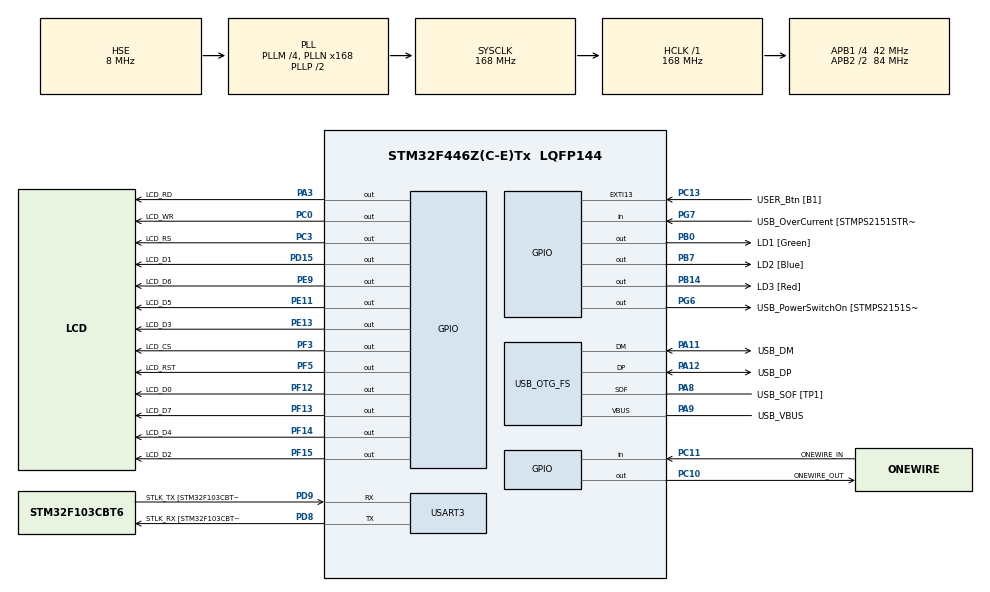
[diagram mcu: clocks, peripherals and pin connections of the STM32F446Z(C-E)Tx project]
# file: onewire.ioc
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Mcu.Family=STM32F4
Mcu.Name=STM32F446Z(C-E)Tx
Mcu.Package=LQFP144
NVIC.PriorityGroup=NVIC_PRIORITYGROUP_4
PA10.GPIO_Label=USB_ID
PA10.Signal=USB_OTG_FS_ID
PA11.GPIO_Label=USB_DM
PA11.Mode=Device_Only
PA11.Signal=USB_OTG_FS_DM
PA12.GPIO_Label=USB_DP
PA12.Mode=Device_Only
PA12.Signal=USB_OTG_FS_DP
PA13.GPIO_Label=TMS
PA13.Mode=Serial_Wire
PA13.Signal=SYS_JTMS-SWDIO
PA14.GPIO_Label=TCK
PA14.Mode=Serial_Wire
PA14.Signal=SYS_JTCK-SWCLK
PA3.GPIO_Label=LCD_RD
PA3.GPIO_Speed=GPIO_SPEED_FREQ_VERY_HIGH
PA3.Signal=GPIO_Output
PA8.GPIO_Label=USB_SOF [TP1]
PA8.Mode=Activate_SOF_FS
PA8.Signal=USB_OTG_FS_SOF
PA9.GPIO_Label=USB_VBUS
PA9.Mode=Activate_VBUS
PA9.Signal=USB_OTG_FS_VBUS
PB0.GPIO_Label=LD1 [Green]
PB0.Signal=GPIO_Output
PB14.GPIO_Label=LD3 [Red]
PB14.Signal=GPIO_Output
PB7.GPIO_Label=LD2 [Blue]
PB7.Signal=GPIO_Output
PC0.GPIO_Label=LCD_WR
PC0.GPIO_Speed=GPIO_SPEED_FREQ_VERY_HIGH
PC0.Signal=GPIO_Output
PC10.GPIO_Label=ONEWIRE_OUT
PC10.GPIO_ModeDefaultOutputPP=GPIO_MODE_OUTPUT_OD
PC10.GPIO_PuPd=GPIO_NOPULL
PC10.GPIO_Speed=GPIO_SPEED_FREQ_HIGH
PC10.PinState=GPIO_PIN_SET
PC10.Signal=GPIO_Output
PC11.GPIO_Label=ONEWIRE_IN
PC11.Signal=GPIO_Input
PC13.GPIO_Label=USER_Btn [B1]
PC13.Signal=GPXTI13
PC14-OSC32_IN.Mode=LSE-External-Oscillator
PC14-OSC32_IN.Signal=RCC_OSC32_IN
PC15-OSC32_OUT.Mode=LSE-External-Oscillator
PC15-OSC32_OUT.Signal=RCC_OSC32_OUT
PC3.GPIO_Label=LCD_RS
PC3.GPIO_Speed=GPIO_SPEED_FREQ_VERY_HIGH
PC3.Signal=GPIO_Output
PD15.GPIO_Label=LCD_D1
PD15.GPIO_Speed=GPIO_SPEED_FREQ_VERY_HIGH
PD15.Signal=GPIO_Output
PD8.GPIO_Label=STLK_RX [STM32F103CBT6_PA3]
PD8.Mode=Asynchronous
PD8.Signal=USART3_TX
PD9.GPIO_Label=STLK_TX [STM32F103CBT6_PA2]
PD9.Mode=Asynchronous
PD9.Signal=USART3_RX
PE11.GPIO_Label=LCD_D5
PE11.GPIO_Speed=GPIO_SPEED_FREQ_VERY_HIGH
PE11.Signal=GPIO_Output
PE13.GPIO_Label=LCD_D3
PE13.GPIO_Speed=GPIO_SPEED_FREQ_VERY_HIGH
PE13.Signal=GPIO_Output
PE9.GPIO_Label=LCD_D6
PE9.GPIO_Speed=GPIO_SPEED_FREQ_VERY_HIGH
PE9.Signal=GPIO_Output
PF12.GPIO_Label=LCD_D0
PF12.GPIO_Speed=GPIO_SPEED_FREQ_VERY_HIGH
PF12.Signal=GPIO_Output
PF13.GPIO_Label=LCD_D7
PF13.GPIO_Speed=GPIO_SPEED_FREQ_VERY_HIGH
PF13.Signal=GPIO_Output
PF14.GPIO_Label=LCD_D4
PF14.GPIO_Speed=GPIO_SPEED_FREQ_VERY_HIGH
PF14.Signal=GPIO_Output
PF15.GPIO_Label=LCD_D2
PF15.GPIO_Speed=GPIO_SPEED_FREQ_VERY_HIGH
PF15.Signal=GPIO_Output
PF3.GPIO_Label=LCD_CS
PF3.GPIO_Speed=GPIO_SPEED_FREQ_VERY_HIGH
PF3.Signal=GPIO_Output
PF5.GPIO_Label=LCD_RST
PF5.GPIO_Speed=GPIO_SPEED_FREQ_VERY_HIGH
PF5.Signal=GPIO_Output
PG6.GPIO_Label=USB_PowerSwitchOn [STMPS2151STR_EN]
PG6.Signal=GPIO_Output
PG7.GPIO_Label=USB_OverCurrent [STMPS2151STR_FAULT]
PG7.Signal=GPIO_Input
PH0-OSC_IN.GPIO_Label=MCO [STM32F103CBT6_PA8]
PH0-OSC_IN.Mode=HSE-External-Clock-Source
PH0-OSC_IN.Signal=RCC_OSC_IN
PH1-OSC_OUT.Mode=HSE-External-Clock-Source
PH1-OSC_OUT.Signal=RCC_OSC_OUT
ProjectManager.HeapSize=0x200
ProjectManager.StackSize=0x400
ProjectManager.TargetToolchain=STM32CubeIDE
RCC.48MHZClocksFreq_Value=24000000
RCC.AHBFreq_Value=168000000
RCC.APB1CLKDivider=RCC_HCLK_DIV4
RCC.APB1Freq_Value=42000000
RCC.APB1TimFreq_Value=84000000
RCC.APB2CLKDivider=RCC_HCLK_DIV2
RCC.APB2Freq_Value=84000000
RCC.APB2TimFreq_Value=168000000
RCC.CortexFreq_Value=168000000
RCC.HCLKFreq_Value=168000000
RCC.HSE_VALUE=8000000
RCC.HSI_VALUE=16000000
RCC.PLLM=4
RCC.PLLMUL=RCC_PLL_MUL9
RCC.PLLN=168
RCC.PLLQ=7
RCC.PRESCALERUSB=RCC_USBCLKSOURCE_PLL_DIV1_5
RCC.SYSCLKFreq_VALUE=168000000
RCC.SYSCLKSource=RCC_SYSCLKSOURCE_PLLCLK
RCC.SYSCLKSourceVirtual=RCC_SYSCLKSOURCE_PLLCLK
RCC.USBFreq_Value=48000000
RCC.VCOOutputFreq_Value=336000000
TIM6.AutoReloadPreload=TIM_AUTORELOAD_PRELOAD_DISABLE
TIM6.Period=65535
TIM6.Prescaler=83
USART3.VirtualMode=VM_ASYNC
USB_OTG_FS.VirtualMode=Device_Only
VP_TIM5_VS_ClockSourceINT.Mode=Internal
VP_TIM6_VS_ClockSourceINT.Mode=Enable_Timer
board=NUCLEO-F446ZE

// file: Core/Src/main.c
/* USER CODE BEGIN Header */
/**
 ******************************************************************************
 * @file           : main.c
 * @brief          : Main program body
 ******************************************************************************
 * @attention
 *
 * Copyright (c) 2023 STMicroelectronics.
 * All rights reserved.
 *
 * This software is licensed under terms that can be found in the LICENSE file
 * in the root directory of this software component.
 * If no LICENSE file comes with this software, it is provided AS-IS.
 *
 ******************************************************************************
 */
/* USER CODE END Header */
#include "main.h"

/* USER CODE BEGIN Includes */
#include <stdio.h>
#include <inttypes.h>
#include <string.h>
#include "onewire.h"
#include "lcd.h"
/* USER CODE END Includes */

/* USER CODE BEGIN PD */
#define MAX_ONEWIRE_DEVICES 16
/* USER CODE END PD */

TIM_HandleTypeDef htim5;
TIM_HandleTypeDef htim6;

UART_HandleTypeDef huart3;

PCD_HandleTypeDef hpcd_USB_OTG_FS;

/* USER CODE BEGIN PV */
static enum {
	START_READINGS,
	WAIT_FOR_READINGS,
	DISPLAY_READINGS,
	DISPLAY_CHART,
} main_loop_state = START_READINGS;
/* USER CODE END PV */

void SystemClock_Config(void);
static void MX_GPIO_Init(void);
static void MX_USART3_UART_Init(void);
static void MX_USB_OTG_FS_PCD_Init(void);
static void MX_TIM6_Init(void);
static void MX_TIM5_Init(void);

/* USER CODE BEGIN 0 */
int __io_putchar(int ch) {
	uint8_t c = ch;
	HAL_UART_Transmit(&huart3, &c, 1, 0xffff);
	return 1;
}

int __io_getchar(void) {
	uint8_t data;
	HAL_UART_Receive(&huart3, &data, 1, HAL_MAX_DELAY);
	return data;
}

typedef struct {
	int16_t temp;
	int16_t time;
} datapoint;

#define MAX_CHART_DATAPOINTS 128
#define MARGIN_TOP 10
#define MARGIN_BOTTOM 10
#define MARGIN_LEFT 50
#define MARGIN_RIGHT 10

static int16_t map_value(int16_t in1, int16_t in2, int16_t out1, int16_t out2, int16_t x) {
	int16_t a = x - in1;
	int16_t b = in2 - in1;
	int16_t c = out2 - out1;
	int32_t d = a*c;
	int16_t e = d / b;
	return out1 + e;
}

static int16_t map_value_horizontal(int16_t in1, int16_t in2, int16_t x) {
	return map_value(in1, in2, MARGIN_LEFT, DISPLAY_W - MARGIN_RIGHT, x);
}

static int16_t map_value_vertical(int16_t in1, int16_t in2, int16_t x) {
	return map_value(in1, in2, MARGIN_TOP, DISPLAY_H - MARGIN_BOTTOM, x);
}

static const uint16_t all_colors[] = {
	COLOR_RED,
	COLOR_GREEN,
};

const int16_t oldest_timestamp = -2 * 60; // 2 minutes
static void draw_chart_line(datapoint *data, int datapoint_count, int16_t min_temp, int16_t max_temp, uint16_t color) {
	int16_t prev_temp = map_value_vertical(max_temp, min_temp, data[0].temp);
	int16_t prev_time = map_value_horizontal(oldest_timestamp, 0, data[0].time);
	for(int i = 1; i < datapoint_count; i++) {
		int16_t curr_temp = map_value_vertical(max_temp, min_temp, data[i].temp);
		int16_t curr_time = map_value_horizontal(oldest_timestamp, 0, data[i].time);

		lcd_draw_line(prev_time, prev_temp, curr_time, curr_temp, color);

		prev_temp = curr_temp;
		prev_time = curr_time;
	}
}

static uint8_t draw_chart(datapoint data[][MAX_CHART_DATAPOINTS], int datapoints_len[MAX_ONEWIRE_DEVICES], int device_cnt) {
	htim5.Instance->CNT = 0;

	int16_t min_temp = 0x7fff;
	int16_t max_temp = 0x8000;
	for(int i = 0; i < device_cnt; i++) {
		for(int j = 0; j < datapoints_len[i]; j++) {
			if(data[i][j].temp < min_temp) min_temp = data[i][j].temp;
			if(data[i][j].temp > max_temp) max_temp = data[i][j].temp;
		}
	}

	min_temp &= 0xfff0;
	max_temp = (max_temp & 0xfff0) + 0x10;
	int16_t temp_amplitude = max_temp - min_temp;

	min_temp -= temp_amplitude / 4;
	max_temp += temp_amplitude / 4;

	int16_t markings[] = {
		(min_temp & ~0x7) + 0x8,
		((max_temp - min_temp) / 2 + min_temp) & 0xfff7,
		(max_temp & ~0x7) - 0x8,
	};

	char axis_buffer[128];
	for(int i = 0; i < sizeof(markings) / sizeof(markings[0]); i++) {
		int16_t location = map_value_vertical(max_temp, min_temp, markings[i]);

		onewire_format_temperature(markings[i], axis_buffer, sizeof(axis_buffer));
		lcd_puts_freely(0, location - FONT_H / 2, COLOR_WHITE, axis_buffer);

		for(int j = MARGIN_LEFT + 1; j < DISPLAY_W - MARGIN_RIGHT; j++) {
			if(j % 16 < 8) {
				lcd_set_pixel(j, location, COLOR_GRAY);
			}
		}
	}

	for(int i = 0; i < device_cnt; i++) {
		draw_chart_line(data[i], datapoints_len[i], min_temp, max_temp, all_colors[i]);
	}

	uint32_t time_elapsed = htim5.Instance->CNT;
	uint32_t total_datapoints = 0;
	for(int i = 0; i < device_cnt; i++) {
		total_datapoints += datapoints_len[i];
	}

	float time_ms = time_elapsed / 8.4e7 * 1e3;
	printf("Time elapsed: %f with total datapoints %" PRIu32 "\n", time_ms, total_datapoints);

	return 0;
}

static void draw_chart_axes(uint16_t color) {
	lcd_draw_line(MARGIN_LEFT, DISPLAY_H - MARGIN_BOTTOM, DISPLAY_W - MARGIN_RIGHT, DISPLAY_H - MARGIN_BOTTOM, color);
	lcd_draw_line(MARGIN_LEFT, MARGIN_TOP, MARGIN_LEFT, DISPLAY_H - MARGIN_BOTTOM, color);
}

static void clean_old_datapoints(datapoint all_datapoints[][MAX_CHART_DATAPOINTS], int datapoints_len[], int device_cnt) {
	int start;
	for(int i = 0; i < device_cnt; i++) {
		for(start = 0; start < datapoints_len[i]; start++) {
			if(all_datapoints[i][start].time >= oldest_timestamp)
				break;
		}

		if(start > 0) {
			memmove(all_datapoints[i], all_datapoints[i] + start, sizeof(datapoint) * datapoints_len[i]);
			datapoints_len[i] -= start;
		}
	}
}
/* USER CODE END 0 */

int main(void) {

	/* MCU Configuration--------------------------------------------------------*/

	/* Reset of all peripherals, Initializes the Flash interface and the Systick. */
	HAL_Init();

	/* Configure the system clock */
	SystemClock_Config();

	/* Initialize all configured peripherals */
	MX_GPIO_Init();
	MX_USART3_UART_Init();
	MX_USB_OTG_FS_PCD_Init();
	MX_TIM6_Init();
	MX_TIM5_Init();
	/* USER CODE BEGIN 2 */
	printf("---- PROGRAM START ----\n\n");
	lcd_init();
	onewire_init(&htim6);
	HAL_TIM_Base_Start(&htim5);

	datapoint all_datapoints[MAX_ONEWIRE_DEVICES][MAX_CHART_DATAPOINTS];
	int datapoints_len[MAX_ONEWIRE_DEVICES];
	memset(datapoints_len, 0, sizeof(datapoints_len));

	uint64_t roms[MAX_ONEWIRE_DEVICES];
	onewire_start_search();
	int device_cnt = 0;
	do {
		roms[device_cnt++] = onewire_search();
	} while(onewire_get_search_state() == RUNNING && device_cnt < MAX_ONEWIRE_DEVICES);

	switch(onewire_get_search_state()) {
		case NOT_INITIALIZED:
			printf("Should be impossible to reach?\n");
			Error_Handler();
		case BAD_CRC:
			printf("Bad CRC\n");
			Error_Handler();
		case NO_DEVICE:
			printf("No device connected\n");
			Error_Handler();
		case RUNNING:
			printf("Warning: too many devices\n");
		case DONE:
			break;
	}

	for(int i = 0; i < device_cnt; i++) {
		onewire_set_resolution(roms[i], ONEWIRE_RESOLUTION_11BIT);
	}
	/* USER CODE END 2 */

	/* Infinite loop */
	/* USER CODE BEGIN WHILE */
	uint32_t last_reading = 0, current_time;
	uint32_t last_button_press = 0;
	uint8_t show_chart = 1;
	uint16_t readings_complete = 0;
	while (1) {
		if(HAL_GPIO_ReadPin(USER_Btn_GPIO_Port, USER_Btn_Pin) == GPIO_PIN_SET && last_button_press + 1000 < HAL_GetTick()) {
			last_button_press = HAL_GetTick();
			lcd_clear();
			show_chart = !show_chart;
			readings_complete = 0;
			if(show_chart) {
				memset(datapoints_len, 0, sizeof(datapoints_len));
			}
		}

		switch(main_loop_state) {
			case START_READINGS: ;
				current_time = HAL_GetTick();
				if(current_time - last_reading >= 1000) {
					last_reading = current_time;
					onewire_request_conversion_multiple(roms, device_cnt);
					main_loop_state = WAIT_FOR_READINGS;
				}
				break;
			case WAIT_FOR_READINGS:
				if(!onewire_get_request_status())
					main_loop_state = show_chart ? DISPLAY_CHART : DISPLAY_READINGS;

				break;
			case DISPLAY_READINGS: ;
				char buffer[32];
				lcd_text_set_cursor(0, 0);
				for(int i = 0; i < device_cnt; i++) {
					uint16_t temp_raw = onewire_read_temperature(roms[i]);
					onewire_format_temperature(temp_raw, buffer, sizeof(buffer));
					lcd_text_printf(COLOR_WHITE, "Temp %i: %s " SPECIAL_DEGREE "C", i+1, buffer);
					lcd_text_newline_with_clearing();
				}
				main_loop_state = START_READINGS;
				break;
			case DISPLAY_CHART: ;
				for(int i = 0; i < device_cnt; i++) {
					int16_t temp_raw = onewire_read_temperature(roms[i]);

					int current_index = datapoints_len[i]++;
					assert(current_index < MAX_CHART_DATAPOINTS);
					all_datapoints[i][current_index].time = ++readings_complete;
					all_datapoints[i][current_index].temp = temp_raw;
				}

				for(int i = 0; i < device_cnt; i++) {
					for(int j = 0; j < datapoints_len[i]; j++) {
						all_datapoints[i][j].time -= readings_complete;
					}
				}

				clean_old_datapoints(all_datapoints, datapoints_len, device_cnt);

				lcd_clear();
				draw_chart_axes(COLOR_WHITE);
				draw_chart(all_datapoints, datapoints_len, device_cnt);
				lcd_dump_buffer();

				for(int i = 0; i < device_cnt; i++) {
					for(int j = 0; j < datapoints_len[i]; j++) {
						all_datapoints[i][j].time += readings_complete;
					}
				}

				main_loop_state = START_READINGS;
				break;
		}
		/* USER CODE END WHILE */

	}
}

void SystemClock_Config(void) {
	RCC_OscInitTypeDef RCC_OscInitStruct = { 0 };
	RCC_ClkInitTypeDef RCC_ClkInitStruct = { 0 };

	/** Configure the main internal regulator output voltage
	 */
	__HAL_RCC_PWR_CLK_ENABLE();
	__HAL_PWR_VOLTAGESCALING_CONFIG(PWR_REGULATOR_VOLTAGE_SCALE1);

	/** Initializes the RCC Oscillators according to the specified parameters
	 * in the RCC_OscInitTypeDef structure.
	 */
	RCC_OscInitStruct.OscillatorType = RCC_OSCILLATORTYPE_HSE;
	RCC_OscInitStruct.HSEState = RCC_HSE_BYPASS;
	RCC_OscInitStruct.PLL.PLLState = RCC_PLL_ON;
	RCC_OscInitStruct.PLL.PLLSource = RCC_PLLSOURCE_HSE;
	RCC_OscInitStruct.PLL.PLLM = 4;
	RCC_OscInitStruct.PLL.PLLN = 168;
	RCC_OscInitStruct.PLL.PLLP = RCC_PLLP_DIV2;
	RCC_OscInitStruct.PLL.PLLQ = 7;
	RCC_OscInitStruct.PLL.PLLR = 2;
	if (HAL_RCC_OscConfig(&RCC_OscInitStruct) != HAL_OK) {
		Error_Handler();
	}

	/** Initializes the CPU, AHB and APB buses clocks
	 */
	RCC_ClkInitStruct.ClockType = RCC_CLOCKTYPE_HCLK | RCC_CLOCKTYPE_SYSCLK
			| RCC_CLOCKTYPE_PCLK1 | RCC_CLOCKTYPE_PCLK2;
	RCC_ClkInitStruct.SYSCLKSource = RCC_SYSCLKSOURCE_PLLCLK;
	RCC_ClkInitStruct.AHBCLKDivider = RCC_SYSCLK_DIV1;
	RCC_ClkInitStruct.APB1CLKDivider = RCC_HCLK_DIV4;
	RCC_ClkInitStruct.APB2CLKDivider = RCC_HCLK_DIV2;

	if (HAL_RCC_ClockConfig(&RCC_ClkInitStruct, FLASH_LATENCY_5) != HAL_OK) {
		Error_Handler();
	}
}

static void MX_TIM5_Init(void) {

	TIM_ClockConfigTypeDef sClockSourceConfig = { 0 };
	TIM_MasterConfigTypeDef sMasterConfig = { 0 };

	htim5.Instance = TIM5;
	htim5.Init.Prescaler = 0;
	htim5.Init.CounterMode = TIM_COUNTERMODE_UP;
	htim5.Init.Period = 4294967295;
	htim5.Init.ClockDivision = TIM_CLOCKDIVISION_DIV1;
	htim5.Init.AutoReloadPreload = TIM_AUTORELOAD_PRELOAD_DISABLE;
	if (HAL_TIM_Base_Init(&htim5) != HAL_OK) {
		Error_Handler();
	}
	sClockSourceConfig.ClockSource = TIM_CLOCKSOURCE_INTERNAL;
	if (HAL_TIM_ConfigClockSource(&htim5, &sClockSourceConfig) != HAL_OK) {
		Error_Handler();
	}
	sMasterConfig.MasterOutputTrigger = TIM_TRGO_RESET;
	sMasterConfig.MasterSlaveMode = TIM_MASTERSLAVEMODE_DISABLE;
	if (HAL_TIMEx_MasterConfigSynchronization(&htim5, &sMasterConfig)
			!= HAL_OK) {
		Error_Handler();
	}

}

static void MX_TIM6_Init(void) {

	TIM_MasterConfigTypeDef sMasterConfig = { 0 };

	htim6.Instance = TIM6;
	htim6.Init.Prescaler = 83;
	htim6.Init.CounterMode = TIM_COUNTERMODE_UP;
	htim6.Init.Period = 65535;
	htim6.Init.AutoReloadPreload = TIM_AUTORELOAD_PRELOAD_DISABLE;
	if (HAL_TIM_Base_Init(&htim6) != HAL_OK) {
		Error_Handler();
	}
	sMasterConfig.MasterOutputTrigger = TIM_TRGO_RESET;
	sMasterConfig.MasterSlaveMode = TIM_MASTERSLAVEMODE_DISABLE;
	if (HAL_TIMEx_MasterConfigSynchronization(&htim6, &sMasterConfig)
			!= HAL_OK) {
		Error_Handler();
	}

}

static void MX_USART3_UART_Init(void) {

	huart3.Instance = USART3;
	huart3.Init.BaudRate = 115200;
	huart3.Init.WordLength = UART_WORDLENGTH_8B;
	huart3.Init.StopBits = UART_STOPBITS_1;
	huart3.Init.Parity = UART_PARITY_NONE;
	huart3.Init.Mode = UART_MODE_TX_RX;
	huart3.Init.HwFlowCtl = UART_HWCONTROL_NONE;
	huart3.Init.OverSampling = UART_OVERSAMPLING_16;
	if (HAL_UART_Init(&huart3) != HAL_OK) {
		Error_Handler();
	}

}

static void MX_USB_OTG_FS_PCD_Init(void) {

	hpcd_USB_OTG_FS.Instance = USB_OTG_FS;
	hpcd_USB_OTG_FS.Init.dev_endpoints = 6;
	hpcd_USB_OTG_FS.Init.speed = PCD_SPEED_FULL;
	hpcd_USB_OTG_FS.Init.dma_enable = DISABLE;
	hpcd_USB_OTG_FS.Init.phy_itface = PCD_PHY_EMBEDDED;
	hpcd_USB_OTG_FS.Init.Sof_enable = ENABLE;
	hpcd_USB_OTG_FS.Init.low_power_enable = DISABLE;
	hpcd_USB_OTG_FS.Init.lpm_enable = DISABLE;
	hpcd_USB_OTG_FS.Init.vbus_sensing_enable = ENABLE;
	hpcd_USB_OTG_FS.Init.use_dedicated_ep1 = DISABLE;
	if (HAL_PCD_Init(&hpcd_USB_OTG_FS) != HAL_OK) {
		Error_Handler();
	}

}

static void MX_GPIO_Init(void) {
	GPIO_InitTypeDef GPIO_InitStruct = { 0 };

	/* GPIO Ports Clock Enable */
	__HAL_RCC_GPIOC_CLK_ENABLE();
	__HAL_RCC_GPIOF_CLK_ENABLE();
	__HAL_RCC_GPIOH_CLK_ENABLE();
	__HAL_RCC_GPIOA_CLK_ENABLE();
	__HAL_RCC_GPIOB_CLK_ENABLE();
	__HAL_RCC_GPIOE_CLK_ENABLE();
	__HAL_RCC_GPIOD_CLK_ENABLE();
	__HAL_RCC_GPIOG_CLK_ENABLE();

	/*Configure GPIO pin Output Level */
	HAL_GPIO_WritePin(GPIOF,
			LCD_CS_Pin | LCD_RST_Pin | LCD_D0_Pin | LCD_D7_Pin | LCD_D4_Pin
					| LCD_D2_Pin, GPIO_PIN_RESET);

	/*Configure GPIO pin Output Level */
	HAL_GPIO_WritePin(GPIOC, LCD_WR_Pin | LCD_RS_Pin, GPIO_PIN_RESET);

	/*Configure GPIO pin Output Level */
	HAL_GPIO_WritePin(LCD_RD_GPIO_Port, LCD_RD_Pin, GPIO_PIN_RESET);

	/*Configure GPIO pin Output Level */
	HAL_GPIO_WritePin(GPIOB, LD1_Pin | LD3_Pin | LD2_Pin, GPIO_PIN_RESET);

	/*Configure GPIO pin Output Level */
	HAL_GPIO_WritePin(GPIOE, LCD_D6_Pin | LCD_D5_Pin | LCD_D3_Pin,
			GPIO_PIN_RESET);

	/*Configure GPIO pin Output Level */
	HAL_GPIO_WritePin(LCD_D1_GPIO_Port, LCD_D1_Pin, GPIO_PIN_RESET);

	/*Configure GPIO pin Output Level */
	HAL_GPIO_WritePin(USB_PowerSwitchOn_GPIO_Port, USB_PowerSwitchOn_Pin,
			GPIO_PIN_RESET);

	/*Configure GPIO pin Output Level */
	HAL_GPIO_WritePin(ONEWIRE_OUT_GPIO_Port, ONEWIRE_OUT_Pin, GPIO_PIN_SET);

	/*Configure GPIO pin : USER_Btn_Pin */
	GPIO_InitStruct.Pin = USER_Btn_Pin;
	GPIO_InitStruct.Mode = GPIO_MODE_IT_RISING;
	GPIO_InitStruct.Pull = GPIO_NOPULL;
	HAL_GPIO_Init(USER_Btn_GPIO_Port, &GPIO_InitStruct);

	/*Configure GPIO pins : LCD_CS_Pin LCD_RST_Pin LCD_D0_Pin LCD_D7_Pin
	 LCD_D4_Pin LCD_D2_Pin */
	GPIO_InitStruct.Pin = LCD_CS_Pin | LCD_RST_Pin | LCD_D0_Pin | LCD_D7_Pin
			| LCD_D4_Pin | LCD_D2_Pin;
	GPIO_InitStruct.Mode = GPIO_MODE_OUTPUT_PP;
	GPIO_InitStruct.Pull = GPIO_NOPULL;
	GPIO_InitStruct.Speed = GPIO_SPEED_FREQ_VERY_HIGH;
	HAL_GPIO_Init(GPIOF, &GPIO_InitStruct);

	/*Configure GPIO pins : LCD_WR_Pin LCD_RS_Pin */
	GPIO_InitStruct.Pin = LCD_WR_Pin | LCD_RS_Pin;
	GPIO_InitStruct.Mode = GPIO_MODE_OUTPUT_PP;
	GPIO_InitStruct.Pull = GPIO_NOPULL;
	GPIO_InitStruct.Speed = GPIO_SPEED_FREQ_VERY_HIGH;
	HAL_GPIO_Init(GPIOC, &GPIO_InitStruct);

	/*Configure GPIO pin : LCD_RD_Pin */
	GPIO_InitStruct.Pin = LCD_RD_Pin;
	GPIO_InitStruct.Mode = GPIO_MODE_OUTPUT_PP;
	GPIO_InitStruct.Pull = GPIO_NOPULL;
	GPIO_InitStruct.Speed = GPIO_SPEED_FREQ_VERY_HIGH;
	HAL_GPIO_Init(LCD_RD_GPIO_Port, &GPIO_InitStruct);

	/*Configure GPIO pins : LD1_Pin LD3_Pin LD2_Pin */
	GPIO_InitStruct.Pin = LD1_Pin | LD3_Pin | LD2_Pin;
	GPIO_InitStruct.Mode = GPIO_MODE_OUTPUT_PP;
	GPIO_InitStruct.Pull = GPIO_NOPULL;
	GPIO_InitStruct.Speed = GPIO_SPEED_FREQ_LOW;
	HAL_GPIO_Init(GPIOB, &GPIO_InitStruct);

	/*Configure GPIO pins : LCD_D6_Pin LCD_D5_Pin LCD_D3_Pin */
	GPIO_InitStruct.Pin = LCD_D6_Pin | LCD_D5_Pin | LCD_D3_Pin;
	GPIO_InitStruct.Mode = GPIO_MODE_OUTPUT_PP;
	GPIO_InitStruct.Pull = GPIO_NOPULL;
	GPIO_InitStruct.Speed = GPIO_SPEED_FREQ_VERY_HIGH;
	HAL_GPIO_Init(GPIOE, &GPIO_InitStruct);

	/*Configure GPIO pin : LCD_D1_Pin */
	GPIO_InitStruct.Pin = LCD_D1_Pin;
	GPIO_InitStruct.Mode = GPIO_MODE_OUTPUT_PP;
	GPIO_InitStruct.Pull = GPIO_NOPULL;
	GPIO_InitStruct.Speed = GPIO_SPEED_FREQ_VERY_HIGH;
	HAL_GPIO_Init(LCD_D1_GPIO_Port, &GPIO_InitStruct);

	/*Configure GPIO pin : USB_PowerSwitchOn_Pin */
	GPIO_InitStruct.Pin = USB_PowerSwitchOn_Pin;
	GPIO_InitStruct.Mode = GPIO_MODE_OUTPUT_PP;
	GPIO_InitStruct.Pull = GPIO_NOPULL;
	GPIO_InitStruct.Speed = GPIO_SPEED_FREQ_LOW;
	HAL_GPIO_Init(USB_PowerSwitchOn_GPIO_Port, &GPIO_InitStruct);

	/*Configure GPIO pin : USB_OverCurrent_Pin */
	GPIO_InitStruct.Pin = USB_OverCurrent_Pin;
	GPIO_InitStruct.Mode = GPIO_MODE_INPUT;
	GPIO_InitStruct.Pull = GPIO_NOPULL;
	HAL_GPIO_Init(USB_OverCurrent_GPIO_Port, &GPIO_InitStruct);

	/*Configure GPIO pin : ONEWIRE_OUT_Pin */
	GPIO_InitStruct.Pin = ONEWIRE_OUT_Pin;
	GPIO_InitStruct.Mode = GPIO_MODE_OUTPUT_OD;
	GPIO_InitStruct.Pull = GPIO_NOPULL;
	GPIO_InitStruct.Speed = GPIO_SPEED_FREQ_HIGH;
	HAL_GPIO_Init(ONEWIRE_OUT_GPIO_Port, &GPIO_InitStruct);

	/*Configure GPIO pin : ONEWIRE_IN_Pin */
	GPIO_InitStruct.Pin = ONEWIRE_IN_Pin;
	GPIO_InitStruct.Mode = GPIO_MODE_INPUT;
	GPIO_InitStruct.Pull = GPIO_NOPULL;
	HAL_GPIO_Init(ONEWIRE_IN_GPIO_Port, &GPIO_InitStruct);

}

void Error_Handler(void) {
	/* USER CODE BEGIN Error_Handler_Debug */
	/* User can add his own implementation to report the HAL error return state */
	printf("\n\n---- ERROR HANDLER REACHED ----\n\n");
	fflush(stdout);
	__disable_irq();
	while (1) {
	}
	/* USER CODE END Error_Handler_Debug */
}
